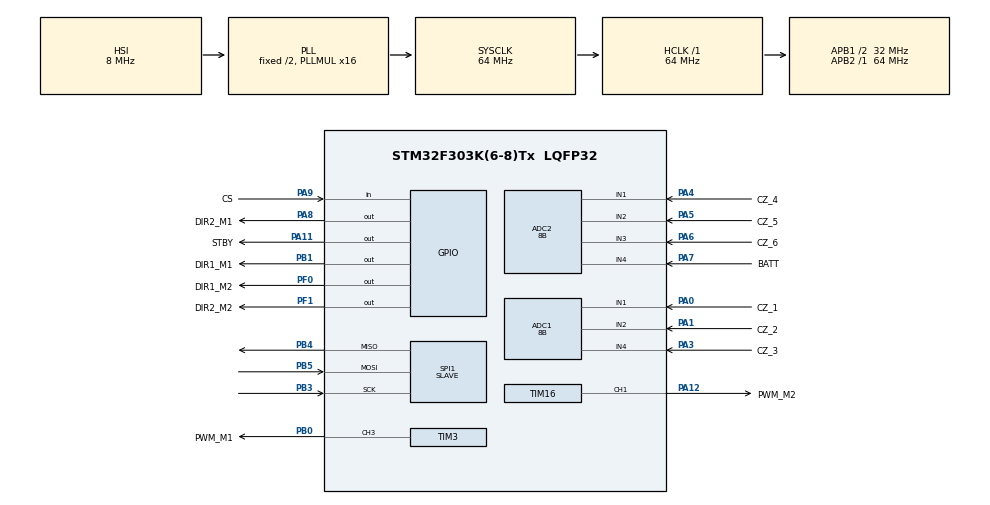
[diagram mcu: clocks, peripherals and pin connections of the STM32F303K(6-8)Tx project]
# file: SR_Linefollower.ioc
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ADC1.Channel-0\#ChannelRegularConversion=ADC_CHANNEL_1
ADC1.Channel-1\#ChannelRegularConversion=ADC_CHANNEL_2
ADC1.Channel-2\#ChannelRegularConversion=ADC_CHANNEL_4
ADC1.NbrOfConversion=3
ADC1.NbrOfConversionFlag=1
ADC1.Offset-0\#ChannelRegularConversion=0
ADC1.Offset-1\#ChannelRegularConversion=0
ADC1.Offset-2\#ChannelRegularConversion=0
ADC1.OffsetNumber-0\#ChannelRegularConversion=ADC_OFFSET_NONE
ADC1.OffsetNumber-1\#ChannelRegularConversion=ADC_OFFSET_NONE
ADC1.OffsetNumber-2\#ChannelRegularConversion=ADC_OFFSET_NONE
ADC1.Rank-0\#ChannelRegularConversion=1
ADC1.Rank-1\#ChannelRegularConversion=2
ADC1.Rank-2\#ChannelRegularConversion=3
ADC1.Resolution=ADC_RESOLUTION_8B
ADC1.SamplingTime-0\#ChannelRegularConversion=ADC_SAMPLETIME_4CYCLES_5
ADC1.SamplingTime-1\#ChannelRegularConversion=ADC_SAMPLETIME_4CYCLES_5
ADC1.SamplingTime-2\#ChannelRegularConversion=ADC_SAMPLETIME_4CYCLES_5
ADC1.SamplingTimeOPAMP-1\#ChannelRegularConversion=ADC_SAMPLETIME_4CYCLES_5
ADC1.SamplingTimeOPAMP-2\#ChannelRegularConversion=ADC_SAMPLETIME_4CYCLES_5
ADC1.SubFamily=STM32F303x8
ADC1.master=1
ADC2.Channel-0\#ChannelRegularConversion=ADC_CHANNEL_1
ADC2.Channel-1\#ChannelRegularConversion=ADC_CHANNEL_2
ADC2.Channel-2\#ChannelRegularConversion=ADC_CHANNEL_3
ADC2.Channel-3\#ChannelRegularConversion=ADC_CHANNEL_4
ADC2.NbrOfConversion=4
ADC2.NbrOfConversionFlag=1
ADC2.Offset-0\#ChannelRegularConversion=0
ADC2.Offset-1\#ChannelRegularConversion=0
ADC2.Offset-2\#ChannelRegularConversion=0
ADC2.Offset-3\#ChannelRegularConversion=0
ADC2.OffsetNumber-0\#ChannelRegularConversion=ADC_OFFSET_NONE
ADC2.OffsetNumber-1\#ChannelRegularConversion=ADC_OFFSET_NONE
ADC2.OffsetNumber-2\#ChannelRegularConversion=ADC_OFFSET_NONE
ADC2.OffsetNumber-3\#ChannelRegularConversion=ADC_OFFSET_NONE
ADC2.Rank-0\#ChannelRegularConversion=1
ADC2.Rank-1\#ChannelRegularConversion=2
ADC2.Rank-2\#ChannelRegularConversion=3
ADC2.Rank-3\#ChannelRegularConversion=4
ADC2.Resolution=ADC_RESOLUTION_8B
ADC2.SamplingTime-0\#ChannelRegularConversion=ADC_SAMPLETIME_4CYCLES_5
ADC2.SamplingTime-1\#ChannelRegularConversion=ADC_SAMPLETIME_4CYCLES_5
ADC2.SamplingTime-2\#ChannelRegularConversion=ADC_SAMPLETIME_4CYCLES_5
ADC2.SamplingTime-3\#ChannelRegularConversion=ADC_SAMPLETIME_1CYCLE_5
ADC2.SamplingTimeOPAMP-1\#ChannelRegularConversion=ADC_SAMPLETIME_4CYCLES_5
ADC2.SamplingTimeOPAMP-2\#ChannelRegularConversion=ADC_SAMPLETIME_4CYCLES_5
ADC2.SamplingTimeOPAMP-3\#ChannelRegularConversion=ADC_SAMPLETIME_4CYCLES_5
ADC2.SubFamily=STM32F303x8
Dma.ADC1.0.Direction=DMA_PERIPH_TO_MEMORY
Dma.ADC1.0.Instance=DMA1_Channel1
Dma.ADC1.0.MemDataAlignment=DMA_MDATAALIGN_BYTE
Dma.ADC1.0.MemInc=DMA_MINC_ENABLE
Dma.ADC1.0.Mode=DMA_CIRCULAR
Dma.ADC1.0.PeriphDataAlignment=DMA_PDATAALIGN_BYTE
Dma.ADC1.0.PeriphInc=DMA_PINC_DISABLE
Dma.ADC1.0.Priority=DMA_PRIORITY_LOW
Dma.ADC2.1.Direction=DMA_PERIPH_TO_MEMORY
Dma.ADC2.1.Instance=DMA1_Channel2
Dma.ADC2.1.MemDataAlignment=DMA_MDATAALIGN_BYTE
Dma.ADC2.1.MemInc=DMA_MINC_ENABLE
Dma.ADC2.1.Mode=DMA_CIRCULAR
Dma.ADC2.1.PeriphDataAlignment=DMA_PDATAALIGN_BYTE
Dma.ADC2.1.PeriphInc=DMA_PINC_DISABLE
Dma.ADC2.1.Priority=DMA_PRIORITY_LOW
Dma.Request0=ADC1
Dma.Request1=ADC2
Mcu.Family=STM32F3
Mcu.Name=STM32F303K(6-8)Tx
Mcu.Package=LQFP32
NVIC.ADC1_2_IRQn=true\:0\:0\:false\:false\:true\:true\:true
NVIC.DMA1_Channel1_IRQn=true\:0\:0\:false\:false\:true\:false\:true
NVIC.DMA1_Channel2_IRQn=true\:0\:0\:false\:false\:true\:false\:true
NVIC.PriorityGroup=NVIC_PRIORITYGROUP_4
NVIC.SPI1_IRQn=true\:0\:0\:false\:false\:true\:true\:true
NVIC.TIM1_UP_TIM16_IRQn=true\:0\:0\:false\:false\:true\:true\:true
NVIC.TIM3_IRQn=true\:0\:0\:false\:false\:true\:true\:true
PA0.GPIO_Label=CZ_1
PA0.Mode=IN1-Single-Ended
PA0.Signal=ADC1_IN1
PA1.GPIO_Label=CZ_2
PA1.Mode=IN2-Single-Ended
PA1.Signal=ADC1_IN2
PA11.GPIO_Label=STBY
PA11.Signal=GPIO_Output
PA12.GPIO_Label=PWM_M2
PA12.Signal=S_TIM16_CH1
PA13.GPIO_Label=SWDIO
PA13.Mode=Serial_Wire
PA13.Signal=SYS_JTMS-SWDIO
PA14.GPIO_Label=SWCLK
PA14.Mode=Serial_Wire
PA14.Signal=SYS_JTCK-SWCLK
PA15.GPIO_Label=VCP_RX
PA15.Signal=USART2_RX
PA3.GPIO_Label=CZ_3
PA3.Mode=IN4-Single-Ended
PA3.Signal=ADC1_IN4
PA4.GPIO_Label=CZ_4
PA4.Mode=IN1-Single-Ended
PA4.Signal=ADC2_IN1
PA5.GPIO_Label=CZ_5
PA5.Mode=IN2-Single-Ended
PA5.Signal=ADC2_IN2
PA6.GPIO_Label=CZ_6
PA6.Mode=IN3-Single-Ended
PA6.Signal=ADC2_IN3
PA7.GPIO_Label=BATT
PA7.Mode=IN4-Single-Ended
PA7.Signal=ADC2_IN4
PA8.GPIO_Label=DIR2_M1
PA8.Signal=GPIO_Output
PA9.GPIO_Label=CS
PA9.Signal=GPIO_Input
PB0.GPIO_Label=PWM_M1
PB0.Signal=S_TIM3_CH3
PB1.GPIO_Label=DIR1_M1
PB1.Signal=GPIO_Output
PB3.Mode=Full_Duplex_Slave
PB3.Signal=SPI1_SCK
PB4.Mode=Full_Duplex_Slave
PB4.Signal=SPI1_MISO
PB5.Mode=Full_Duplex_Slave
PB5.Signal=SPI1_MOSI
PF0\ /\ OSC_IN.GPIO_Label=DIR1_M2
PF0\ /\ OSC_IN.Signal=GPIO_Output
PF1\ /\ OSC_OUT.GPIO_Label=DIR2_M2
PF1\ /\ OSC_OUT.Signal=GPIO_Output
ProjectManager.HeapSize=0x200
ProjectManager.StackSize=0x400
ProjectManager.TargetToolchain=STM32CubeIDE
RCC.AHBFreq_Value=64000000
RCC.APB1CLKDivider=RCC_HCLK_DIV2
RCC.APB1Freq_Value=32000000
RCC.APB1TimFreq_Value=64000000
RCC.APB2Freq_Value=64000000
RCC.APB2TimFreq_Value=64000000
RCC.CortexFreq_Value=64000000
RCC.HCLKFreq_Value=64000000
RCC.HSE_VALUE=8000000
RCC.HSI_VALUE=8000000
RCC.PLLMUL=RCC_PLL_MUL16
RCC.SYSCLKFreq_VALUE=64000000
RCC.SYSCLKSourceVirtual=RCC_SYSCLKSOURCE_PLLCLK
SH.S_TIM16_CH1.0=TIM16_CH1,PWM Generation1 CH1
SH.S_TIM3_CH3.0=TIM3_CH3,PWM Generation3 CH3
SPI1.DataSize=SPI_DATASIZE_8BIT
SPI1.Direction=SPI_DIRECTION_2LINES
SPI1.Mode=SPI_MODE_SLAVE
SPI1.VirtualType=VM_SLAVE
TIM16.Channel=TIM_CHANNEL_1
TIM16.Period=99
TIM16.Prescaler=1599
TIM3.Channel-PWM\ Generation3\ CH3=TIM_CHANNEL_3
TIM3.Period=99
TIM3.Prescaler=1599
VP_TIM16_VS_ClockSourceINT.Mode=Enable_Timer
board=NUCLEO-F303K8

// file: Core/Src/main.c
/* USER CODE BEGIN Header */
/**
  ******************************************************************************
  * @file           : main.c
  * @brief          : Main program body
  ******************************************************************************
  * @attention
  *
  * <h2><center>&copy; Copyright (c) 2021 STMicroelectronics.
  * All rights reserved.</center></h2>
  *
  * This software component is licensed by ST under BSD 3-Clause license,
  * the "License"; You may not use this file except in compliance with the
  * License. You may obtain a copy of the License at:
  *                        opensource.org/licenses/BSD-3-Clause
  *
  ******************************************************************************
  */
/* USER CODE END Header */
#include "main.h"
#include "adc.h"
#include "dma.h"
#include "spi.h"
#include "tim.h"
#include "gpio.h"

/* USER CODE BEGIN Includes */
#include <stdio.h>

#define CONV_NUM 3
#define THRESHOLD 150

/* USER CODE END Includes */

void SystemClock_Config(void);

/* USER CODE BEGIN 0 */

typedef struct{

	volatile uint8_t Czujniki[6];

} Linefollower;

volatile uint16_t czuj1;
volatile uint16_t czuj2;
volatile uint16_t czuj3;
volatile uint16_t czuj4;
volatile uint16_t czuj5;
volatile uint16_t czuj6;

volatile uint8_t Czujniki[6];

volatile uint8_t adc1[3];
volatile uint8_t adc2[3];

//////////////////////////////////////////////////////////////////////////////
// Funkcje ustawiające kierunek ruchu pierwszego silnika

void setDIR1_M1(){
	HAL_GPIO_WritePin(DIR1_M1_GPIO_Port, DIR1_M1_Pin, SET);
}
void resetDIR1_M1(){
	HAL_GPIO_WritePin(DIR1_M1_GPIO_Port, DIR1_M1_Pin, RESET);
}
void setDIR2_M1(){
	HAL_GPIO_WritePin(DIR2_M1_GPIO_Port, DIR2_M1_Pin , SET);
}
void resetDIR2_M1(){
	HAL_GPIO_WritePin(DIR2_M1_GPIO_Port, DIR2_M1_Pin, RESET);
}

void setM1_Forward(){
	resetDIR1_M1();
	setDIR2_M1();
}

void setM1_Backward(){
	setDIR1_M1();
	resetDIR2_M1();
}
//////////////////////////////////////////////////////////////////////////////

//////////////////////////////////////////////////////////////////////////////
// Funkcje ustawiające kierunek ruchu drugiego silnika

void setDIR1_M2(){
	HAL_GPIO_WritePin(DIR1_M2_GPIO_Port, DIR1_M2_Pin, SET);
}
void resetDIR1_M2(){
	HAL_GPIO_WritePin(DIR1_M2_GPIO_Port,DIR1_M2_Pin, RESET);
}
void setDIR2_M2(){
	HAL_GPIO_WritePin(DIR2_M2_GPIO_Port, DIR2_M2_Pin, SET);
}
void resetDIR2_M2(){
	HAL_GPIO_WritePin(DIR2_M2_GPIO_Port, DIR2_M2_Pin, RESET);
}

void setM2_Forward(){
	resetDIR1_M2();
	setDIR2_M2();
}

void setM2_Backward(){
	setDIR1_M2();
	resetDIR2_M2();
}
//////////////////////////////////////////////////////////////////////////////

//////////////////////////////////////////////////////////////////////////////
// Funkcje ustawiające wypełnienie PWM'ów obu silników

void setPWM_Motor1( int wypelnienie ){
    __HAL_TIM_SET_COMPARE(&htim3, TIM_CHANNEL_3, wypelnienie);
}

void setPWM_Motor2(int wypelnienie){
    __HAL_TIM_SET_COMPARE(&htim16, TIM_CHANNEL_1, wypelnienie);
}

//////////////////////////////////////////////////////////////////////////////

void setSTBY(){
	HAL_GPIO_WritePin(STBY_GPIO_Port, STBY_Pin, SET);
}

//////////////////////////////////////////////////////////////////////////////
// Analizowanie danych z czujników

void setSensor(uint8_t ADC , uint8_t * CZUJNIK){
	if( ADC > THRESHOLD )
		*CZUJNIK=1;
	else
		*CZUJNIK=0;
}

/*
int _write(int file, char *ptr, int len){
	  HAL_UART_Transmit( &huart1, ptr, len,50 );
	  return len;
}*/

/* USER CODE END 0 */

int main(void)
{

  /* MCU Configuration--------------------------------------------------------*/

  /* Reset of all peripherals, Initializes the Flash interface and the Systick. */
  HAL_Init();

  /* Configure the system clock */
  SystemClock_Config();

  /* Initialize all configured peripherals */
  MX_GPIO_Init();
  MX_DMA_Init();
  MX_ADC1_Init();
  MX_SPI1_Init();
  MX_ADC2_Init();
  MX_TIM3_Init();
  MX_TIM16_Init();
  /* USER CODE BEGIN 2 */

  //HAL_ADCEx_Calibration_Start(&hadc1, ADC_SINGLE_ENDED);
  HAL_TIM_PWM_Start(&htim3, TIM_CHANNEL_3);
  HAL_TIM_PWM_Start(&htim16, TIM_CHANNEL_1);
  HAL_ADC_Start_IT(&hadc1);
  HAL_ADC_Start_IT(&hadc2);
  HAL_ADC_Start(&hadc1);
  HAL_ADC_Start_DMA(&hadc1, adc1, CONV_NUM);
  HAL_ADC_Start_DMA(&hadc2, adc2, CONV_NUM);
  /* USER CODE END 2 */

  /* Infinite loop */
  /* USER CODE BEGIN WHILE */

  setSTBY();

  /*******************************/

  setM1_Forward();
  setM2_Forward();

  Linefollower LF;
  int prev_error=0;
  int error=0;
  int ilosc_wykryc=0;

  int waga[] = { -10 , -7 , -5 , 5 , 7 , 10 };

  int Kp = 2;
  int Kd = 1;

  /*
  uint8_t Test1;
  uint8_t Test2;
  uint8_t Test3;
  uint8_t Test4;
  uint8_t Test5;
  uint8_t Test6;
*/

  int rozniczka=0;
  int regulacja=0;

  /* Wartości, dla których silniki kręcą się z tę samą szybkością*/
  int roznica=7;
  int setPoint = 20;
  int setpoint_M1 = setPoint + roznica;
  int setpoint_M2 = setPoint;

  int prog = 150;
  int MODE = 0;

  volatile uint8_t TX[11] = {10 , 22 , 33 , 44, 55 , 66 , 123 , 1 , 255 , 1 , 97};
  volatile uint8_t RX[11];

  while (1)
  {

	  	if(HAL_GPIO_ReadPin(GPIOA, GPIO_PIN_9) == GPIO_PIN_RESET){
	  		HAL_SPI_TransmitReceive(&hspi1, TX, RX ,11, HAL_MAX_DELAY);
	  	}
		  HAL_Delay(50);

	  MODE = RX[5];
	  if(MODE == 1){

		  for(int i=0 ; i<3 ; i++)
			  setSensor( adc1[i] , &LF.Czujniki[i] );

		  for(int i=0 ; i<3 ; i++)
			  setSensor( adc2[i] , &LF.Czujniki[i+3] );

		  ///////////////////////////////////////////////////
		  // PID
		  for(int n=0; n<6 ; n++ ){
			  error += LF.Czujniki[n]*waga[n];
			  ilosc_wykryc += LF.Czujniki[n];
		  }

		  if(ilosc_wykryc != 0 ){
			  error /= ilosc_wykryc;
			  prev_error = error;
		  }
		  else{
			  if(prev_error < -7)
				  error = -12;
			  else if(prev_error > 7)
				  error= 12;
			  else
				  error=0;
		  }

		  rozniczka = error - prev_error;
		  prev_error = error;
		  regulacja = Kp*error + Kd*rozniczka;

		  setPWM_Motor1( setpoint_M1 - regulacja );
		  setPWM_Motor2( setpoint_M2 + regulacja );

		  ilosc_wykryc=0;
		  error=0;

		  ///////////////////////////////////////////////////
		  // Wysyłanie danych po SPI

		  TX[0] = adc1[0];
		  TX[1] = adc1[1];
		  TX[2] = adc1[2];
		  TX[3] = adc2[0];
		  TX[4] = adc2[1];
		  TX[5] = adc2[2];
		  TX[6] =  setpoint_M1 - regulacja;
		  TX[7] = 1;
		  TX[8] =  setpoint_M1 + regulacja;
		  TX[9] = 1;
		  TX[10] = 96;

	//  	if(HAL_GPIO_ReadPin(GPIOA, GPIO_PIN_9) == GPIO_PIN_RESET);
	//  		HAL_SPI_Transmit(&hspi1, TX, 11, HAL_MAX_DELAY);
		  HAL_Delay(50);

		  HAL_ADC_Start_DMA(&hadc1, adc1, CONV_NUM);
		  HAL_ADC_Start_DMA(&hadc2, adc2, CONV_NUM);
	  }
	  else if(MODE == 0){

		  if(RX[1]==1)
			  setM1_Forward();
		  else if(RX[1]==0)
			  setM1_Backward();

		  if(RX[3]==1)
			  setM2_Forward();
		  else if(RX[3]==0)
			  setM2_Backward();

		  setPWM_Motor1(RX[0]);
		  setPWM_Motor2(RX[2]);

	  }

	  ///////////////////////////////////////////////////////////////////

		/*
	      printf("Czuj1 %d\r\n" , adc1[0]);
		  printf("Czuj2 %d\r\n" , adc1[1]);
		  printf("Czuj3 %d\r\n" , adc1[2]);
		  printf("Czuj4 %d\r\n" , adc2[0]);
		  printf("Czuj5 %d\r\n" , adc2[1]);
		  printf("Czuj6 %d\r\n\n" , adc2[2]);

		  */
	  /*

	  //  Czujnik 1
	  if(adc1[0] > prog)
		  Czujniki[0]=1;
	  else
		  Czujniki[0]=0;

	  //  Czujnik 2
	  if(adc1[1] > prog)
		  Czujniki[1]=1;
	  else
		  Czujniki[1]=0;

	  //  Czujnik 3
	  if(adc1[2] > prog)
		  Czujniki[2]=1;
	  else
		  Czujniki[2]=0;

	  //  Czujnik 4
	  if(adc2[0] > prog)
		  Czujniki[3]=1;
	  else
		  Czujniki[3]=0;

	  //  Czujnik 5
	  if(adc2[1] > prog)
		  Czujniki[4]=1;
	  else
		  Czujniki[4]=0;

	  //  Czujnik 6
	  if(adc2[2] > prog)
		  Czujniki[5]=1;
	  else
		  Czujniki[5]=0;

		*/

	  /*
	  Test1 = adc1[0];
	  Test2 = adc1[1];
	  Test3 = adc1[2];
	  Test4 = adc2[0];
	  Test5 = adc2[1];
	  Test6 = adc2[2];
*/

    /* USER CODE END WHILE */

  }
}

void SystemClock_Config(void)
{
  RCC_OscInitTypeDef RCC_OscInitStruct = {0};
  RCC_ClkInitTypeDef RCC_ClkInitStruct = {0};
  RCC_PeriphCLKInitTypeDef PeriphClkInit = {0};

  /** Initializes the RCC Oscillators according to the specified parameters
  * in the RCC_OscInitTypeDef structure.
  */
  RCC_OscInitStruct.OscillatorType = RCC_OSCILLATORTYPE_HSI;
  RCC_OscInitStruct.HSIState = RCC_HSI_ON;
  RCC_OscInitStruct.HSICalibrationValue = RCC_HSICALIBRATION_DEFAULT;
  RCC_OscInitStruct.PLL.PLLState = RCC_PLL_ON;
  RCC_OscInitStruct.PLL.PLLSource = RCC_PLLSOURCE_HSI;
  RCC_OscInitStruct.PLL.PLLMUL = RCC_PLL_MUL16;
  if (HAL_RCC_OscConfig(&RCC_OscInitStruct) != HAL_OK)
  {
    Error_Handler();
  }
  /** Initializes the CPU, AHB and APB buses clocks
  */
  RCC_ClkInitStruct.ClockType = RCC_CLOCKTYPE_HCLK|RCC_CLOCKTYPE_SYSCLK
                              |RCC_CLOCKTYPE_PCLK1|RCC_CLOCKTYPE_PCLK2;
  RCC_ClkInitStruct.SYSCLKSource = RCC_SYSCLKSOURCE_PLLCLK;
  RCC_ClkInitStruct.AHBCLKDivider = RCC_SYSCLK_DIV1;
  RCC_ClkInitStruct.APB1CLKDivider = RCC_HCLK_DIV2;
  RCC_ClkInitStruct.APB2CLKDivider = RCC_HCLK_DIV1;

  if (HAL_RCC_ClockConfig(&RCC_ClkInitStruct, FLASH_LATENCY_2) != HAL_OK)
  {
    Error_Handler();
  }
  PeriphClkInit.PeriphClockSelection = RCC_PERIPHCLK_ADC12;
  PeriphClkInit.Adc12ClockSelection = RCC_ADC12PLLCLK_DIV1;
  if (HAL_RCCEx_PeriphCLKConfig(&PeriphClkInit) != HAL_OK)
  {
    Error_Handler();
  }
}

void Error_Handler(void)
{
}

/************************ (C) COPYRIGHT STMicroelectronics *****END OF FILE****/
